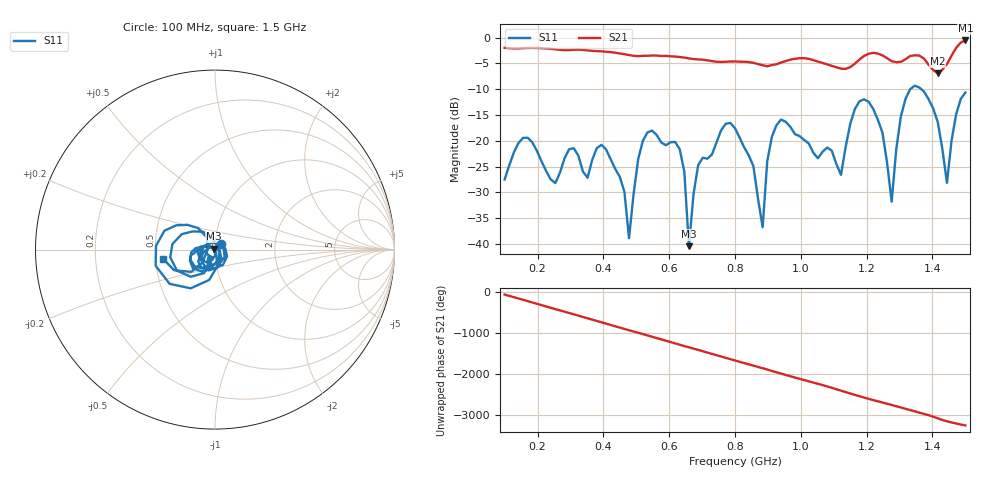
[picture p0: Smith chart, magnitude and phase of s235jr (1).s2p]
! NanoVNA-App
! Date: 2025-09-25 15:04:10
! Start: 100MHz Stop: 1,5GHz Points: 101
! S-Parameter data: F S11 S21 S12 S22
# Hz S RI R 50
!  Frequency  S11_Real  S11_Imag  S21_Real  S21_Imag  S12_Real  S12_Imag  S22_Real  S22_Imag
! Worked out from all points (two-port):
!   101 points, 100 MHz to 1.5 GHz, reference 50 ohm
!   highest |S21| = -0.54 dB at 1.5 GHz (marker M1); lowest = -6.9 dB at 1.416 GHz (marker M2)
!   |S21| within 3 dB of the highest: start of sweep to 497.1 MHz; 515.2 MHz to 575.9 MHz (60.67 MHz wide, 11.1 % of centre) (the widest 2 of 6)
!   lowest |S11| = -40.4 dB at 660 MHz (marker M3), VSWR 1.02, Z = 49.2 + j0.56 ohm
!   |S11| at or under -10 dB: start of sweep to 1.332 GHz; 1.366 GHz to end of sweep
!   S12 and S22 are empty: the file has one direction only
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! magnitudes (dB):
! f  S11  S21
! 100 MHz  -27.5  -2.0
! 156 MHz  -19.4  -2.0
! 338 MHz  -25.9  -2.4
! 408 MHz  -21.6  -2.7
! 478 MHz  -38.8  -3.4
! 520 MHz  -20.0  -3.5
! 576 MHz  -20.3  -3.5
! 632 MHz  -21.6  -3.7
! 660 MHz  -40.4  -4.0
! 688 MHz  -24.7  -4.2
! 800 MHz  -17.5  -4.6
! 884 MHz  -36.7  -5.3
! 898 MHz  -23.9  -5.5
! 926 MHz  -17.0  -5.1
! 1.038 GHz  -22.3  -4.4
! 1.122 GHz  -26.6  -6.0
! 1.206 GHz  -12.4  -3.1
! 1.276 GHz  -31.8  -4.6
! 1.332 GHz  -10.0  -3.6
! 1.416 GHz  -16.3  -6.9
! 1.444 GHz  -28.1  -5.1
! 1.5 GHz  -10.6  -0.5
